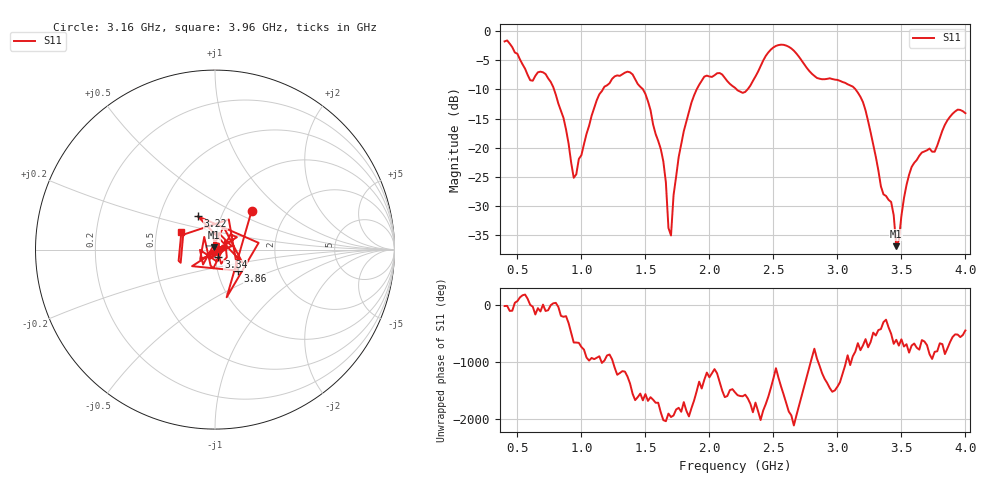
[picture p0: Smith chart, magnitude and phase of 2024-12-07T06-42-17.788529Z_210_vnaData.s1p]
!Created with skrf (http://scikit-rf.org).
# Hz S RI R 50.0
!freq ReS11 ImS11
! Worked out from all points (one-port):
!   181 points, 400 MHz to 4 GHz, reference 50 ohm
!   lowest |S11| = -36.9 dB at 3.46 GHz (marker M1), VSWR 1.03, Z = 49.6 + j1.37 ohm
!   |S11| at or under -10 dB: 786.1 MHz to 1.168 GHz (381.5 MHz wide, 39.1 % of centre); 1.481 GHz to 1.901 GHz (419.5 MHz wide, 24.8 % of centre); 3.142 GHz to end of sweep (the widest 3 of 4)
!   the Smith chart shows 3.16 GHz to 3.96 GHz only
!   S11 on the Smith chart (normalised r, x): 3.16 GHz: 1.34, +0.63; 3.22 GHz: 0.77, +0.30; 3.34 GHz: 1.04, -0.09; 3.86 GHz: 1.25, -0.30; 3.96 GHz: 0.67, +0.14
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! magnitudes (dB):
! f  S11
! 400 MHz  -1.8
! 600 MHz  -8.4
! 720 MHz  -7.4
! 860 MHz  -14.9
! 940 MHz  -25.1
! 1.14 GHz  -10.8
! 1.3 GHz  -7.7
! 1.52 GHz  -12.0
! 1.64 GHz  -22.3
! 1.68 GHz  -33.7
! 1.7 GHz  -35.0
! 1.76 GHz  -21.6
! 1.86 GHz  -12.2
! 1.96 GHz  -7.8
! 2.2 GHz  -9.7
! 2.28 GHz  -10.4
! 2.5 GHz  -2.8
! 2.66 GHz  -3.4
! 3.1 GHz  -9.3
! 3.16 GHz  -10.6
! 3.22 GHz  -13.6
! 3.34 GHz  -26.6
! 3.42 GHz  -29.3
! 3.46 GHz  -36.9
! 3.56 GHz  -24.6
! 3.86 GHz  -15.3
! 3.96 GHz  -13.5
! 4 GHz  -14.1
